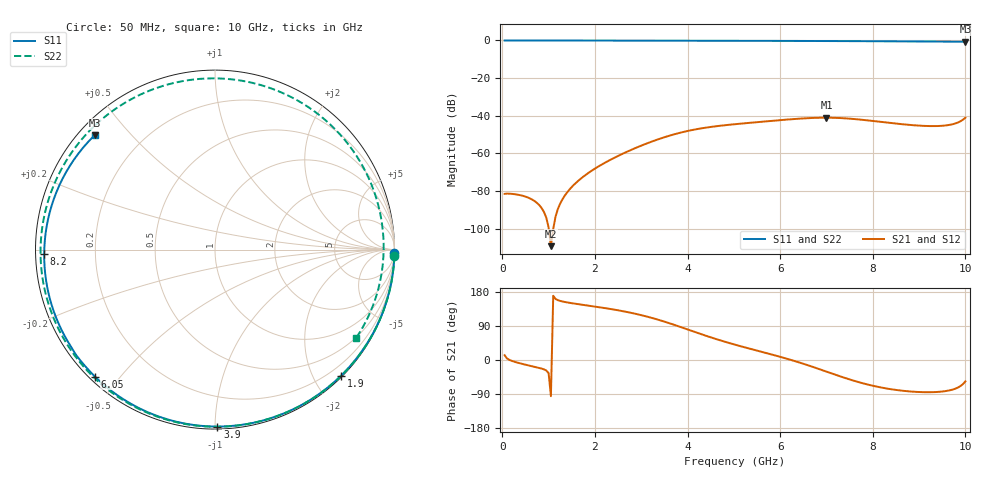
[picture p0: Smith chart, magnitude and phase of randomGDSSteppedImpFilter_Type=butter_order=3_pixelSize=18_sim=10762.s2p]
! freq	dB(S11)	phase(S11)	dB(S12)	phase(S12)
!  dB(S21)	phase(S21)	dB(S22)	phase(S22)
!S-par simulation data
#  GHz  S  DB  R 50
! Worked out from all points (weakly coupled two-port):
!   200 points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, 50 MHz to 10 GHz, reference 50 ohm
!   highest |S21| = -41.04 dB at 7 GHz (marker M1); lowest = -109.3 dB at 1.05 GHz (marker M2)
!   lowest |S11| = -0.7 dB at 10 GHz (marker M3), VSWR 25.70, Z = 2.26 + j19.9 ohm
!   |S11| at or under -10 dB: nowhere
!   |S22| runs from -0.7 to 0.0 dB; largest |S21 - S12| = 0
!   S11 on the Smith chart (normalised r, x): 50 MHz: 0, -95; 1.9 GHz: 0.02, -2.41; 3.9 GHz: 0.01, -1.01; 6.05 GHz: 0.02, -0.43; 8.2 GHz: 0.02, -0.01; 10 GHz: 0.05, +0.40
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0.05  -0.00 -1.2  -81.52 12.7  -81.52 12.7  -0.00 -2.0
0.55  -0.01 -13.3  -83.43 -13.8  -83.43 -13.8  -0.02 -21.9
1.05  -0.03 -25.2  -109.30 -95.5  -109.30 -95.5  -0.05 -41.5
1.4  -0.04 -33.5  -80.73 152.0  -80.73 152.0  -0.07 -54.8
1.75  -0.05 -41.6  -72.36 145.4  -72.36 145.4  -0.09 -67.9
1.9  -0.06 -45.1  -69.70 142.7  -69.70 142.7  -0.09 -73.4
2.65  -0.08 -62.1  -59.60 127.7  -59.60 127.7  -0.12 -100.3
3.4  -0.10 -78.5  -52.23 105.1  -52.23 105.1  -0.16 -126.2
3.9  -0.12 -89.2  -48.67 85.0  -48.67 85.0  -0.18 -143.2
4.5  -0.15 -101.8  -45.95 59.8  -45.95 59.8  -0.22 -163.7
5.05  -0.17 -113.1  -44.43 39.6  -44.43 39.6  -0.25 177.2
5.55  -0.20 -123.2  -43.30 23.2  -43.30 23.2  -0.29 159.2
6.05  -0.23 -133.4  -42.23 6.7  -42.23 6.7  -0.32 140.3
6.7  -0.29 -146.5  -41.17 -18.0  -41.17 -18.0  -0.37 114.1
7  -0.31 -152.8  -41.04 -30.7  -41.04 -30.7  -0.39 101.4
7.6  -0.36 -165.4  -41.75 -55.0  -41.75 -55.0  -0.43 74.9
8.2  -0.43 -178.6  -43.33 -73.0  -43.33 -73.0  -0.47 47.5
8.35  -0.44 178.0  -43.76 -76.2  -43.76 -76.2  -0.48 40.5
8.75  -0.49 168.7  -44.78 -82.5  -44.78 -82.5  -0.50 22.2
9.15  -0.55 158.9  -45.44 -85.0  -45.44 -85.0  -0.53 4.2
9.7  -0.63 144.7  -44.66 -78.9  -44.66 -78.9  -0.60 -19.6
10  -0.68 136.4  -41.05 -56.4  -41.05 -56.4  -0.65 -32.0
